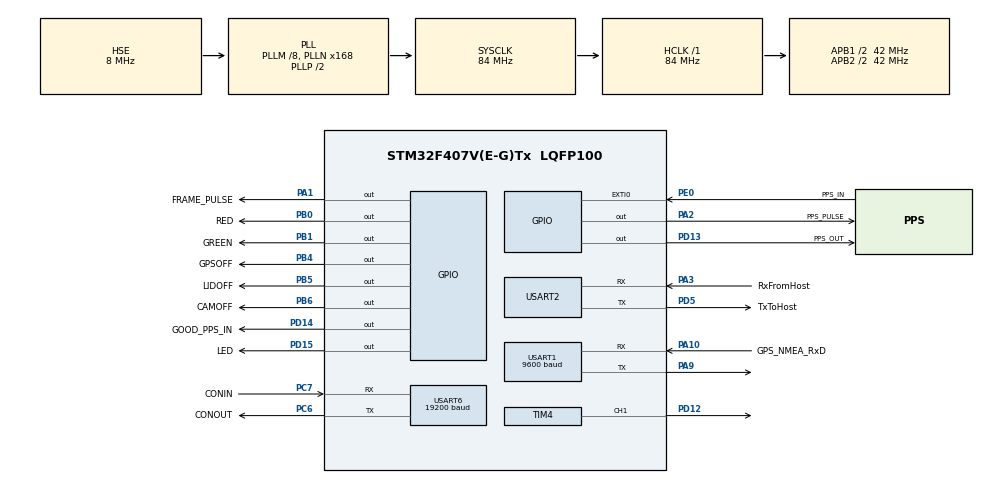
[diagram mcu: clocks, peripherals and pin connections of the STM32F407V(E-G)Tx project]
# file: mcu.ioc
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Dma.Request0=USART6_TX
Dma.USART6_TX.0.Direction=DMA_MEMORY_TO_PERIPH
Dma.USART6_TX.0.FIFOMode=DMA_FIFOMODE_DISABLE
Dma.USART6_TX.0.Instance=DMA2_Stream6
Dma.USART6_TX.0.MemDataAlignment=DMA_MDATAALIGN_BYTE
Dma.USART6_TX.0.MemInc=DMA_MINC_ENABLE
Dma.USART6_TX.0.Mode=DMA_NORMAL
Dma.USART6_TX.0.PeriphDataAlignment=DMA_PDATAALIGN_BYTE
Dma.USART6_TX.0.PeriphInc=DMA_PINC_DISABLE
Dma.USART6_TX.0.Priority=DMA_PRIORITY_LOW
Mcu.Family=STM32F4
Mcu.Name=STM32F407V(E-G)Tx
Mcu.Package=LQFP100
NVIC.DMA2_Stream6_IRQn=true\:0\:0\:false\:false\:true
NVIC.EXTI0_IRQn=true\:0\:0\:false\:false\:true
NVIC.PriorityGroup=NVIC_PRIORITYGROUP_4
NVIC.TIM2_IRQn=true\:0\:0\:false\:false\:true
NVIC.TIM4_IRQn=true\:0\:0\:false\:false\:true
NVIC.USART1_IRQn=true\:0\:0\:false\:false\:true
NVIC.USART2_IRQn=true\:0\:0\:false\:false\:true
NVIC.USART6_IRQn=true\:0\:0\:false\:false\:true
PA1.GPIO_Label=FRAME_PULSE
PA1.Signal=GPIO_Output
PA10.GPIO_Label=GPS_NMEA_RxD
PA10.Mode=Asynchronous
PA10.Signal=USART1_RX
PA2.GPIO_Label=PPS_PULSE
PA2.Signal=GPIO_Output
PA3.GPIO_Label=RxFromHost
PA3.Mode=Asynchronous
PA3.Signal=USART2_RX
PA9.Mode=Asynchronous
PA9.Signal=USART1_TX
PB0.GPIO_Label=RED
PB0.Signal=GPIO_Output
PB1.GPIO_Label=GREEN
PB1.Signal=GPIO_Output
PB4.GPIO_Label=GPSOFF
PB4.Signal=GPIO_Output
PB5.GPIO_Label=LIDOFF
PB5.Signal=GPIO_Output
PB6.GPIO_Label=CAMOFF
PB6.Signal=GPIO_Output
PC6.GPIO_Label=CONOUT
PC6.Mode=Asynchronous
PC6.Signal=USART6_TX
PC7.GPIO_Label=CONIN
PC7.Mode=Asynchronous
PC7.Signal=USART6_RX
PD12.GPIO_Speed=GPIO_SPEED_FREQ_VERY_HIGH
PD12.Signal=S_TIM4_CH1
PD13.GPIO_Label=PPS_OUT
PD13.Signal=GPIO_Output
PD14.GPIO_Label=GOOD_PPS_IN
PD14.Signal=GPIO_Output
PD15.GPIO_Label=LED
PD15.Signal=GPIO_Output
PD5.GPIO_Label=TxToHost
PD5.Mode=Asynchronous
PD5.Signal=USART2_TX
PE0.GPIO_Label=PPS_IN
PE0.Signal=GPXTI0
PH0-OSC_IN.Mode=HSE-External-Oscillator
PH0-OSC_IN.Signal=RCC_OSC_IN
PH1-OSC_OUT.Mode=HSE-External-Oscillator
PH1-OSC_OUT.Signal=RCC_OSC_OUT
ProjectManager.HeapSize=0x200
ProjectManager.StackSize=0x400
ProjectManager.TargetToolchain=MDK-ARM V5
RCC.48MHZClocksFreq_Value=42000000
RCC.AHBFreq_Value=84000000
RCC.APB1CLKDivider=RCC_HCLK_DIV2
RCC.APB1Freq_Value=42000000
RCC.APB1TimFreq_Value=84000000
RCC.APB2CLKDivider=RCC_HCLK_DIV2
RCC.APB2Freq_Value=42000000
RCC.APB2TimFreq_Value=84000000
RCC.CortexFreq_Value=84000000
RCC.HCLKFreq_Value=84000000
RCC.HSE_VALUE=8000000
RCC.HSI_VALUE=16000000
RCC.LSE_VALUE=32768
RCC.PLLM=8
RCC.PLLN=168
RCC.PLLSourceVirtual=RCC_PLLSOURCE_HSE
RCC.SYSCLKFreq_VALUE=84000000
RCC.SYSCLKSource=RCC_SYSCLKSOURCE_PLLCLK
RCC.VCOOutputFreq_Value=168000000
SH.S_TIM4_CH1.0=TIM4_CH1,PWM Generation1 CH1
TIM2.Period=0
TIM2.Prescaler=83
TIM2.TIM_MasterOutputTrigger=TIM_TRGO_ENABLE
TIM4.ClockDivision=TIM_CLOCKDIVISION_DIV1
TIM4.OCFastMode_PWM-PWM\ Generation1\ CH1=TIM_OCFAST_ENABLE
TIM4.OCMode_PWM-PWM\ Generation1\ CH1=TIM_OCMODE_PWM2
TIM4.OCPolarity_1=TIM_OCPOLARITY_LOW
TIM4.Period=19999
TIM4.Prescaler=83
TIM4.Pulse-PWM\ Generation1\ CH1=1999
TIM4.TIM_MasterOutputTrigger=TIM_TRGO_ENABLE
USART1.BaudRate=9600
USART6.BaudRate=19200
VP_TIM2_VS_ClockSourceINT.Mode=Internal
VP_TIM4_VS_ClockSourceINT.Mode=Internal
board=mcu

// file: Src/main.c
/**
  ******************************************************************************
  * File Name          : main.c
  * Description        : Main program body
  ******************************************************************************
  *
  * COPYRIGHT(c) 2018 STMicroelectronics
  *
  * Redistribution and use in source and binary forms, with or without modification,
  * are permitted provided that the following conditions are met:
  *   1. Redistributions of source code must retain the above copyright notice,
  *      this list of conditions and the following disclaimer.
  *   2. Redistributions in binary form must reproduce the above copyright notice,
  *      this list of conditions and the following disclaimer in the documentation
  *      and/or other materials provided with the distribution.
  *   3. Neither the name of STMicroelectronics nor the names of its contributors
  *      may be used to endorse or promote products derived from this software
  *      without specific prior written permission.
  *
  * THIS SOFTWARE IS PROVIDED BY THE COPYRIGHT HOLDERS AND CONTRIBUTORS "AS IS"
  * AND ANY EXPRESS OR IMPLIED WARRANTIES, INCLUDING, BUT NOT LIMITED TO, THE
  * IMPLIED WARRANTIES OF MERCHANTABILITY AND FITNESS FOR A PARTICULAR PURPOSE ARE
  * DISCLAIMED. IN NO EVENT SHALL THE COPYRIGHT HOLDER OR CONTRIBUTORS BE LIABLE
  * FOR ANY DIRECT, INDIRECT, INCIDENTAL, SPECIAL, EXEMPLARY, OR CONSEQUENTIAL
  * DAMAGES (INCLUDING, BUT NOT LIMITED TO, PROCUREMENT OF SUBSTITUTE GOODS OR
  * SERVICES; LOSS OF USE, DATA, OR PROFITS; OR BUSINESS INTERRUPTION) HOWEVER
  * CAUSED AND ON ANY THEORY OF LIABILITY, WHETHER IN CONTRACT, STRICT LIABILITY,
  * OR TORT (INCLUDING NEGLIGENCE OR OTHERWISE) ARISING IN ANY WAY OUT OF THE USE
  * OF THIS SOFTWARE, EVEN IF ADVISED OF THE POSSIBILITY OF SUCH DAMAGE.
  *
  ******************************************************************************
  */
#include "stm32f4xx_hal.h"
#include "dma.h"
#include "tim.h"
#include "usart.h"
#include "gpio.h"

/* USER CODE BEGIN Includes */

#include "stdio.h"
#include "string.h"
#include "stdlib.h"
#include "time.h"

#include "serial.h"
#include "uart.h"
#include "gps.h"

/* USER CODE END Includes */

/* USER CODE BEGIN PV */
/* Private variables ---------------------------------------------------------*/

/* USER CODE END PV */

void SystemClock_Config(void);
void Error_Handler(void);

/* USER CODE BEGIN PFP */
/* Private function prototypes -----------------------------------------------*/

/* USER CODE END PFP */

/* USER CODE BEGIN 0 */

int verbose = 0;
int frameCountingStarted = 0; /* set when we have started counting frame pulses */
uint32_t frameCounter = 0; /* number of outgoing frame pulses */
uint32_t pulseCounter = 0; /* number of incoming gps pulses */
int frameRate = 20; /* 20 Hz frame rate out */
volatile uint32_t clockTicks = 0;
volatile int globalEnableFrames = 0;
volatile int generateFrames = 0;
uint32_t gpsTime = 0;
uint32_t frameStartTime = 0;
uint32_t frameStopTime = 0;
char gpsDateString[32];
char gpsTimeString[32];
extern int started;

void GpsPower(int flag) {
	GPIOB->BSRR = (1 << (4 + 16 * flag));
}

void LidarPower(int flag) {
	GPIOB->BSRR = (1 << (5 + 16 * flag));
}

void CameraPower(int flag) {
	GPIOB->BSRR = (1 << (6 + 16 * flag));
}

int compareFramesToPulses() {
	uint32_t expectedFrames = pulseCounter * frameRate;
	if(frameCounter > expectedFrames) return 1;
	else if(frameCounter < expectedFrames) return -1;
	else return 0;
}

unsigned long tim2Counter = 0, lastTim2Counter = 0;

/* the next three constants must be consistent. 2^3 = 8. mask = 8-1 */
const int ppsCalibrationTicksSize = 16;
const int ppsCalibrationTicksSizeMask = 0xF;
const int ppsCalibrationTicksSizeLog = 4;

unsigned long int ppsCalibrationTicks[ppsCalibrationTicksSize];
unsigned int ppsCalibrationTicksHead = 0;
unsigned int ppsCalibrationTicksPoints = 0;
unsigned long int tickAcc;

unsigned int totalCalibrationTicks() {
	int i;
	tickAcc = 0;
	for(i=0;i<ppsCalibrationTicksSize;++i) {
		tickAcc += ppsCalibrationTicks[i];
	}
	return tickAcc;
}

const int defaultPwmPeriod = 50000;
const int updateRate = 20;

/* USER CODE END 0 */

int main(void)
{

  /* USER CODE BEGIN 1 */

	initUarts();

  /* USER CODE END 1 */

  /* MCU Configuration----------------------------------------------------------*/

  /* Reset of all peripherals, Initializes the Flash interface and the Systick. */
  HAL_Init();

  /* Configure the system clock */
  SystemClock_Config();

  /* Initialize all configured peripherals */
  MX_GPIO_Init();
  MX_DMA_Init();
  MX_TIM2_Init();
  MX_TIM4_Init();
  MX_USART2_UART_Init();
  MX_USART1_UART_Init();
  MX_USART6_UART_Init();

  /* USER CODE BEGIN 2 */

	TIM2->CR1 |= 0x1;
	TIM2->ARR = 0xFFFFFFFF;

//	TIM4->CR1 |= 0x81;
	TIM4->CCER &= ~0xF;
	TIM4->CCER |= 0x1;
	TIM4->DIER |= 0x1;
	TIM4->ARR = defaultPwmPeriod;

	unsigned int value = huart1.Instance->CR1;
	value |= uartRxNEIE;
	huart1.Instance->CR1 = value;

	value = huart2.Instance->CR1;
	value |= uartRxNEIE;
	huart2.Instance->CR1 = value;

	// huart2.Instance->DR = 'A';

	const char *header1 = "$GPRMC";
	const char *trailer1 = "*";
	const char *header2 = "$AT";
	const char *trailer2 = "*";
	int start, final;
	int lengthTrailer1 = strlen(trailer1), lengthTrailer2 = strlen(trailer2);

	displayOn(1); /* turn ON display */

	GPIOD->BSRR = 0x80000000;
	GPIOB->BSRR = 0x00030000;
	cat("Nauto(2018) Rig Firmware V1.01\n");
	GPIOD->BSRR = 0x00008000;
	GPIOB->BSRR = 0x00000003;

	// display("\x0c\x80Nauto(2018)\x94Rig FW Rev V1.01");
/* essentially acts as a clear display to send 20 bytes per line */
	display(0, "NAUTO(2018) MAPPING ", 20);
	display(1, "H/W V1 F/W V1.01    ", 20);
	display(2, "i love my elenitas!!", 20);
	// huart1.Instance->DR = 'E';

	uint32_t previousGpsTime = 0;

  /* USER CODE END 2 */

  /* Infinite loop */
  while (1)
  {

  /* USER CODE BEGIN 3 */
		if (previousGpsTime != gpsTime) {
			previousGpsTime = gpsTime;
			char str[20];
			int n_bytes = snprintf(str, sizeof(str), "T=%8.8u", gpsTime);
			display(3, str, n_bytes);
		}
		processUarts();
		int status = syncSerialStream(&uart1RxQueue, header1, trailer1, &start, &final);
		if(status == 0) {
			char str1[64];
			int j, k = splitString(&uart1RxQueue, start, final);
			if(verbose >= 2) {
				for(j=0;j<k;++j) {
					snprintf(str1, sizeof(str1), "index = %d. field = [%s]\n", j, getField(1, j));
					cat(str1);
				}
			}
			strcpy(gpsTimeString, getField(1, 1));
			strcpy(gpsDateString, getField(1, 9));
			gpsTime = UtcTimeFromGprmcDateTimeStrings(gpsDateString, gpsTimeString);
			if(verbose) {
				snprintf(str1, sizeof(str1), "gps time = %d from [%s:%s]\n", gpsTime, gpsDateString, gpsTimeString);
				cat(str1);
			}
		}
		status = syncSerialStream(&uart2RxQueue, header2, trailer2, &start, &final);
		if(status == 0) {
			char str2[128];
			final = (final - lengthTrailer2) & uart2RxQueue.mask; /* remove trailer from payload */
			int j, k = splitString(&uart2RxQueue, start, final);
			if(verbose) {
				for(j=0;j<k;++j) {
					snprintf(str2, sizeof(str2), "index = %d. field = [%s]\n", j, getField(2, j));
					cat(str2);
				}
			}
			if(strcmp(getField(2, 0), "$ATENAF") == 0) {
				globalEnableFrames = 1;
				snprintf(str2, sizeof(str2), "enabling frames\n");
				started = 1;
				TIM4->CR1 |= 0x81; // TODO move to function
				cat(str2);
			} else if(strcmp(getField(2, 0), "$ATDISF") == 0) {
				globalEnableFrames = 0;
				snprintf(str2, sizeof(str2), "disabling frames\n");
				started = 0;
				TIM4->CR1 &= ~0x81; // TODO move to function
				cat(str2);
			} else if(strcmp(getField(2, 0), "$ATGENF") == 0) {
				generateFrames = atoi(getField(2, 1));
				snprintf(str2, sizeof(str2), "generating %d frames\n", generateFrames);
				cat(str2);
			} else if(strcmp(getField(2, 0), "$ATVERBOSE") == 0) {
				verbose = atoi(getField(2, 1));
				snprintf(str2, sizeof(str2), "verbose = %d\n", verbose);
				cat(str2);
			} else if(strcmp(getField(2, 0), "$ATGPSTIME") == 0) {
				snprintf(str2, sizeof(str2), "$GPSTIME,%u,%s,%s*\n", gpsTime, gpsDateString, gpsTimeString);
				cat(str2);
			} else if(strcmp(getField(2, 0), "$ATSTARTF") == 0) {
				frameStartTime = atoi(getField(2, 1));
				snprintf(str2, sizeof(str2), "frames starting at %u\n", frameStartTime);
				cat(str2);
			} else if(strcmp(getField(2, 0), "$ATSTOPF") == 0) {
				frameStopTime = atoi(getField(2, 1));
				snprintf(str2, sizeof(str2), "frames stopping at %u\n", frameStopTime);
				cat(str2);
			} else if(strcmp(getField(2, 0), "$ATFRAMES") == 0) {
				snprintf(str2, sizeof(str2), "$FRAMES,%u*\n", frameCounter);
				cat(str2);
			} else if(strcmp(getField(2, 0), "$ATGPS") == 0) {
				int flag = atoi(getField(2, 1));
				GpsPower(flag);
				if (flag) { display(1, "GPS ON", 0); }
				else { display(1, "GPS OFF", 0); }
			} else if(strcmp(getField(2, 0), "$ATLIDAR") == 0) {
				int flag = atoi(getField(2, 1));
				LidarPower(flag);
				if (flag) { display(1, "LIDAR ON", 0); }
				else { display(1, "LIDAR OFF", 0); }
			} else if(strcmp(getField(2, 0), "$ATCAMERA") == 0) {
				int flag = atoi(getField(2, 1));
				CameraPower(flag);
				if (flag) { display(1, "CAMERA ON", 0); }
				else { display(1, "CAMERA OFF", 0); }
			}
		}
  }

  /* USER CODE END 3 */

}

/** System Clock Configuration
*/
void SystemClock_Config(void)
{

  RCC_OscInitTypeDef RCC_OscInitStruct;
  RCC_ClkInitTypeDef RCC_ClkInitStruct;

  __HAL_RCC_PWR_CLK_ENABLE();

  __HAL_PWR_VOLTAGESCALING_CONFIG(PWR_REGULATOR_VOLTAGE_SCALE1);

  RCC_OscInitStruct.OscillatorType = RCC_OSCILLATORTYPE_HSE;
  RCC_OscInitStruct.HSEState = RCC_HSE_ON;
  RCC_OscInitStruct.PLL.PLLState = RCC_PLL_ON;
  RCC_OscInitStruct.PLL.PLLSource = RCC_PLLSOURCE_HSE;
  RCC_OscInitStruct.PLL.PLLM = 8;
  RCC_OscInitStruct.PLL.PLLN = 168;
  RCC_OscInitStruct.PLL.PLLP = RCC_PLLP_DIV2;
  RCC_OscInitStruct.PLL.PLLQ = 4;
  if (HAL_RCC_OscConfig(&RCC_OscInitStruct) != HAL_OK)
  {
    Error_Handler();
  }

  RCC_ClkInitStruct.ClockType = RCC_CLOCKTYPE_HCLK|RCC_CLOCKTYPE_SYSCLK
                              |RCC_CLOCKTYPE_PCLK1|RCC_CLOCKTYPE_PCLK2;
  RCC_ClkInitStruct.SYSCLKSource = RCC_SYSCLKSOURCE_PLLCLK;
  RCC_ClkInitStruct.AHBCLKDivider = RCC_SYSCLK_DIV1;
  RCC_ClkInitStruct.APB1CLKDivider = RCC_HCLK_DIV2;
  RCC_ClkInitStruct.APB2CLKDivider = RCC_HCLK_DIV2;
  if (HAL_RCC_ClockConfig(&RCC_ClkInitStruct, FLASH_LATENCY_2) != HAL_OK)
  {
    Error_Handler();
  }

  HAL_SYSTICK_Config(HAL_RCC_GetHCLKFreq()/1000);

  HAL_SYSTICK_CLKSourceConfig(SYSTICK_CLKSOURCE_HCLK);

  /* SysTick_IRQn interrupt configuration */
  HAL_NVIC_SetPriority(SysTick_IRQn, 0, 0);
}

void Error_Handler(void)
{
  while(1)
  {
  }
}

/************************ (C) COPYRIGHT STMicroelectronics *****END OF FILE****/
